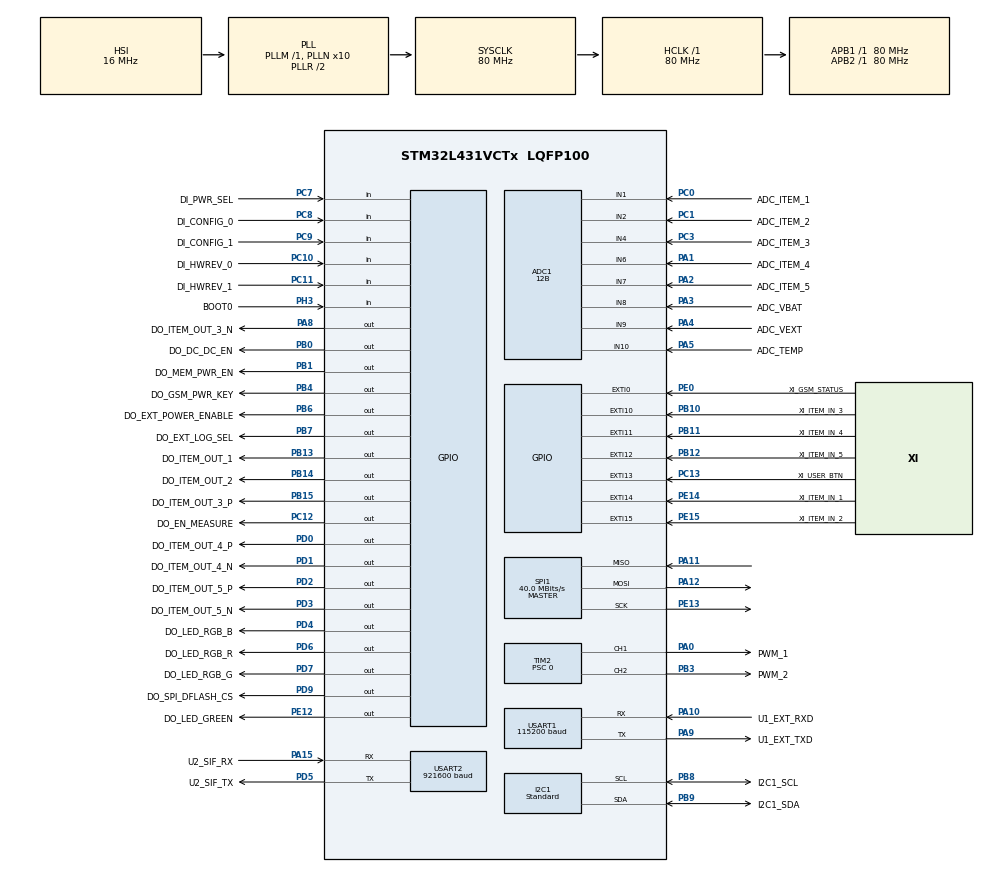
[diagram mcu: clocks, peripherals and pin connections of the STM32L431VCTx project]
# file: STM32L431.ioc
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ADC1.Channel-0\#ChannelRegularConversion=ADC_CHANNEL_1
ADC1.Channel-1\#ChannelRegularConversion=ADC_CHANNEL_2
ADC1.Channel-15\#ChannelRegularConversion=ADC_CHANNEL_9
ADC1.Channel-2\#ChannelRegularConversion=ADC_CHANNEL_4
ADC1.Channel-3\#ChannelRegularConversion=ADC_CHANNEL_6
ADC1.Channel-4\#ChannelRegularConversion=ADC_CHANNEL_7
ADC1.Channel-5\#ChannelRegularConversion=ADC_CHANNEL_8
ADC1.ClockPrescaler=ADC_CLOCK_ASYNC_DIV12
ADC1.ContinuousConvMode=DISABLE
ADC1.DMAContinuousRequests=ENABLE
ADC1.DataAlign=ADC_DATAALIGN_RIGHT
ADC1.DiscontinuousConvMode=DISABLE
ADC1.EOCSelection=ADC_EOC_SINGLE_CONV
ADC1.ExternalTrigConv=ADC_SOFTWARE_START
ADC1.ExternalTrigConvEdge=ADC_EXTERNALTRIGCONVEDGE_NONE
ADC1.LowPowerAutoWait=DISABLE
ADC1.NbrOfConversion=8
ADC1.NbrOfConversionFlag=1
ADC1.OffsetNumber-0\#ChannelRegularConversion=ADC_OFFSET_NONE
ADC1.OffsetNumber-1\#ChannelRegularConversion=ADC_OFFSET_NONE
ADC1.OffsetNumber-15\#ChannelRegularConversion=ADC_OFFSET_NONE
ADC1.OffsetNumber-2\#ChannelRegularConversion=ADC_OFFSET_NONE
ADC1.OffsetNumber-3\#ChannelRegularConversion=ADC_OFFSET_NONE
ADC1.OffsetNumber-4\#ChannelRegularConversion=ADC_OFFSET_NONE
ADC1.OffsetNumber-5\#ChannelRegularConversion=ADC_OFFSET_NONE
ADC1.Overrun=ADC_OVR_DATA_OVERWRITTEN
ADC1.OversamplingMode=DISABLE
ADC1.Rank-0\#ChannelRegularConversion=2
ADC1.Rank-1\#ChannelRegularConversion=3
ADC1.Rank-15\#ChannelRegularConversion=8
ADC1.Rank-2\#ChannelRegularConversion=4
ADC1.Rank-3\#ChannelRegularConversion=5
ADC1.Rank-4\#ChannelRegularConversion=6
ADC1.Rank-5\#ChannelRegularConversion=7
ADC1.Resolution=ADC_RESOLUTION_12B
ADC1.SamplingTime-0\#ChannelRegularConversion=ADC_SAMPLETIME_2CYCLES_5
ADC1.SamplingTime-1\#ChannelRegularConversion=ADC_SAMPLETIME_2CYCLES_5
ADC1.SamplingTime-15\#ChannelRegularConversion=ADC_SAMPLETIME_2CYCLES_5
ADC1.SamplingTime-2\#ChannelRegularConversion=ADC_SAMPLETIME_2CYCLES_5
ADC1.SamplingTime-3\#ChannelRegularConversion=ADC_SAMPLETIME_2CYCLES_5
ADC1.SamplingTime-4\#ChannelRegularConversion=ADC_SAMPLETIME_2CYCLES_5
ADC1.SamplingTime-5\#ChannelRegularConversion=ADC_SAMPLETIME_2CYCLES_5
ADC1.master=1
Dma.ADC1.0.Direction=DMA_PERIPH_TO_MEMORY
Dma.ADC1.0.Instance=DMA1_Channel1
Dma.ADC1.0.MemDataAlignment=DMA_MDATAALIGN_WORD
Dma.ADC1.0.MemInc=DMA_MINC_ENABLE
Dma.ADC1.0.Mode=DMA_CIRCULAR
Dma.ADC1.0.PeriphDataAlignment=DMA_PDATAALIGN_HALFWORD
Dma.ADC1.0.PeriphInc=DMA_PINC_DISABLE
Dma.ADC1.0.Priority=DMA_PRIORITY_LOW
Dma.Request0=ADC1
I2C1.AddressingMode=I2C_ADDRESSINGMODE_7BIT
I2C1.Analog_Filter=I2C_ANALOGFILTER_ENABLE
I2C1.DualAddressMode=I2C_DUALADDRESS_DISABLE
I2C1.GeneralCallMode=I2C_GENERALCALL_DISABLE
I2C1.I2C_Coeff_DF=0
I2C1.I2C_Fall_Time=0
I2C1.I2C_Rise_Time=0
I2C1.I2C_Speed_Mode=I2C_Standard
I2C1.NoStretchMode=I2C_NOSTRETCH_DISABLE
I2C1.OwnAddress=0
I2C1.Speed=100
I2C1.Timing=0x10909CEC
IWDG.Prescaler=IWDG_PRESCALER_16
IWDG.Reload=4095
IWDG.Window=4095
Mcu.Family=STM32L4
Mcu.Name=STM32L431VCTx
Mcu.Package=LQFP100
NVIC.DMA1_Channel1_IRQn=true\:0\:0\:false\:false\:true\:false\:true
NVIC.EXTI0_IRQn=true\:0\:0\:false\:false\:true\:true\:true
NVIC.EXTI15_10_IRQn=true\:0\:0\:false\:false\:true\:true\:true
NVIC.PriorityGroup=NVIC_PRIORITYGROUP_4
NVIC.SPI1_IRQn=true\:0\:0\:false\:false\:true\:true\:true
NVIC.TIM1_UP_TIM16_IRQn=true\:0\:0\:false\:false\:true\:false\:true
NVIC.TimeBase=TIM1_UP_TIM16_IRQn
NVIC.TimeBaseIP=TIM16
NVIC.USART1_IRQn=true\:0\:0\:false\:false\:true\:true\:true
NVIC.USART2_IRQn=true\:0\:0\:false\:false\:true\:true\:true
PA0.GPIO_Label=PWM_1
PA0.Signal=S_TIM2_CH1
PA1.GPIO_Label=ADC_ITEM_4
PA1.Signal=ADCx_IN6
PA10.GPIO_Label=U1_EXT_RXD
PA10.GPIO_PuPd=GPIO_PULLUP
PA10.Mode=Asynchronous
PA10.Signal=USART1_RX
PA11.GPIO_Speed=GPIO_SPEED_FREQ_VERY_HIGH
PA11.Mode=Full_Duplex_Master
PA11.Signal=SPI1_MISO
PA12.GPIO_Speed=GPIO_SPEED_FREQ_VERY_HIGH
PA12.Mode=Full_Duplex_Master
PA12.Signal=SPI1_MOSI
PA13\ (JTMS-SWDIO).Mode=Serial_Wire
PA13\ (JTMS-SWDIO).Signal=SYS_JTMS-SWDIO
PA14\ (JTCK-SWCLK).Mode=Serial_Wire
PA14\ (JTCK-SWCLK).Signal=SYS_JTCK-SWCLK
PA15\ (JTDI).GPIO_Label=U2_SIF_RX
PA15\ (JTDI).GPIO_PuPd=GPIO_PULLUP
PA15\ (JTDI).Mode=Asynchronous
PA15\ (JTDI).Signal=USART2_RX
PA2.GPIO_Label=ADC_ITEM_5
PA2.Signal=ADCx_IN7
PA3.GPIO_Label=ADC_VBAT
PA3.Signal=ADCx_IN8
PA4.GPIO_Label=ADC_VEXT
PA4.Signal=ADCx_IN9
PA5.GPIO_Label=ADC_TEMP
PA5.Signal=ADCx_IN10
PA8.GPIO_Label=DO_ITEM_OUT_3_N
PA8.GPIO_PuPd=GPIO_NOPULL
PA8.Signal=GPIO_Output
PA9.GPIO_Label=U1_EXT_TXD
PA9.Mode=Asynchronous
PA9.Signal=USART1_TX
PB0.GPIO_Label=DO_DC_DC_EN
PB0.PinState=GPIO_PIN_SET
PB0.Signal=GPIO_Output
PB1.GPIO_Label=DO_MEM_PWR_EN
PB1.PinState=GPIO_PIN_RESET
PB1.Signal=GPIO_Output
PB10.GPIO_Label=XI_ITEM_IN_3
PB10.GPIO_PuPd=GPIO_NOPULL
PB10.Signal=GPXTI10
PB11.GPIO_Label=XI_ITEM_IN_4
PB11.GPIO_PuPd=GPIO_NOPULL
PB11.Signal=GPXTI11
PB12.GPIO_Label=XI_ITEM_IN_5
PB12.GPIO_PuPd=GPIO_NOPULL
PB12.Signal=GPXTI12
PB13.GPIO_Label=DO_ITEM_OUT_1
PB13.GPIO_PuPd=GPIO_NOPULL
PB13.Signal=GPIO_Output
PB14.GPIO_Label=DO_ITEM_OUT_2
PB14.GPIO_PuPd=GPIO_NOPULL
PB14.Signal=GPIO_Output
PB15.GPIO_Label=DO_ITEM_OUT_3_P
PB15.GPIO_PuPd=GPIO_NOPULL
PB15.Signal=GPIO_Output
PB3\ (JTDO-TRACESWO).GPIO_Label=PWM_2
PB3\ (JTDO-TRACESWO).Signal=S_TIM2_CH2
PB4\ (NJTRST).GPIO_Label=DO_GSM_PWR_KEY
PB4\ (NJTRST).GPIO_ModeDefaultOutputPP=GPIO_MODE_OUTPUT_PP
PB4\ (NJTRST).GPIO_PuPd=GPIO_PULLDOWN
PB4\ (NJTRST).GPIO_Speed=GPIO_SPEED_FREQ_LOW
PB4\ (NJTRST).PinState=GPIO_PIN_RESET
PB4\ (NJTRST).Signal=GPIO_Output
PB6.GPIO_Label=DO_EXT_POWER_ENABLE
PB6.GPIO_PuPd=GPIO_NOPULL
PB6.PinState=GPIO_PIN_SET
PB6.Signal=GPIO_Output
PB7.GPIO_Label=DO_EXT_LOG_SEL
PB7.PinState=GPIO_PIN_SET
PB7.Signal=GPIO_Output
PB8.GPIO_Label=I2C1_SCL
PB8.GPIO_Pu=GPIO_PULLUP
PB8.Mode=I2C
PB8.Signal=I2C1_SCL
PB9.GPIO_Label=I2C1_SDA
PB9.GPIO_Pu=GPIO_PULLUP
PB9.Mode=I2C
PB9.Signal=I2C1_SDA
PC0.GPIO_Label=ADC_ITEM_1
PC0.Signal=ADCx_IN1
PC1.GPIO_Label=ADC_ITEM_2
PC1.Signal=ADCx_IN2
PC10.GPIO_Label=DI_HWREV_0
PC10.GPIO_PuPd=GPIO_NOPULL
PC10.Signal=GPIO_Input
PC11.GPIO_Label=DI_HWREV_1
PC11.GPIO_PuPd=GPIO_NOPULL
PC11.Signal=GPIO_Input
PC12.GPIO_Label=DO_EN_MEASURE
PC12.PinState=GPIO_PIN_SET
PC12.Signal=GPIO_Output
PC13.GPIO_Label=XI_USER_BTN
PC13.GPIO_ModeDefaultEXTI=GPIO_MODE_IT_FALLING
PC13.GPIO_PuPd=GPIO_PULLUP
PC13.Signal=GPXTI13
PC14-OSC32_IN\ (PC14).Mode=LSE-External-Oscillator
PC14-OSC32_IN\ (PC14).Signal=RCC_OSC32_IN
PC15-OSC32_OUT\ (PC15).Mode=LSE-External-Oscillator
PC15-OSC32_OUT\ (PC15).Signal=RCC_OSC32_OUT
PC3.GPIO_Label=ADC_ITEM_3
PC3.Signal=ADCx_IN4
PC7.GPIO_Label=DI_PWR_SEL
PC7.Signal=GPIO_Input
PC8.GPIO_Label=DI_CONFIG_0
PC8.GPIO_PuPd=GPIO_PULLDOWN
PC8.Signal=GPIO_Input
PC9.GPIO_Label=DI_CONFIG_1
PC9.GPIO_PuPd=GPIO_PULLDOWN
PC9.Signal=GPIO_Input
PD0.GPIO_Label=DO_ITEM_OUT_4_P
PD0.GPIO_PuPd=GPIO_NOPULL
PD0.Signal=GPIO_Output
PD1.GPIO_Label=DO_ITEM_OUT_4_N
PD1.GPIO_PuPd=GPIO_NOPULL
PD1.Signal=GPIO_Output
PD2.GPIO_Label=DO_ITEM_OUT_5_P
PD2.GPIO_PuPd=GPIO_NOPULL
PD2.Signal=GPIO_Output
PD3.GPIO_Label=DO_ITEM_OUT_5_N
PD3.GPIO_PuPd=GPIO_NOPULL
PD3.Signal=GPIO_Output
PD4.GPIO_Label=DO_LED_RGB_B
PD4.GPIO_PuPd=GPIO_NOPULL
PD4.PinState=GPIO_PIN_SET
PD4.Signal=GPIO_Output
PD5.GPIO_Label=U2_SIF_TX
PD5.Mode=Asynchronous
PD5.Signal=USART2_TX
PD6.GPIO_Label=DO_LED_RGB_R
PD6.GPIO_PuPd=GPIO_NOPULL
PD6.PinState=GPIO_PIN_SET
PD6.Signal=GPIO_Output
PD7.GPIO_Label=DO_LED_RGB_G
PD7.PinState=GPIO_PIN_SET
PD7.Signal=GPIO_Output
PD9.GPIO_Label=DO_SPI_DFLASH_CS
PD9.GPIO_PuPd=GPIO_NOPULL
PD9.PinState=GPIO_PIN_SET
PD9.Signal=GPIO_Output
PE0.GPIO_Label=XI_GSM_STATUS
PE0.GPIO_ModeDefaultEXTI=GPIO_MODE_IT_RISING_FALLING
PE0.GPIO_PuPd=GPIO_PULLDOWN
PE0.Signal=GPXTI0
PE12.GPIO_Label=DO_LED_GREEN
PE12.Signal=GPIO_Output
PE13.GPIO_Speed=GPIO_SPEED_FREQ_VERY_HIGH
PE13.Mode=Full_Duplex_Master
PE13.Signal=SPI1_SCK
PE14.GPIO_Label=XI_ITEM_IN_1
PE14.Signal=GPXTI14
PE15.GPIO_Label=XI_ITEM_IN_2
PE15.Signal=GPXTI15
PH3-BOOT0.GPIO_Label=BOOT0
PH3-BOOT0.GPIO_PuPd=GPIO_PULLUP
PH3-BOOT0.Signal=GPIO_Input
ProjectManager.HeapSize=0x0
ProjectManager.StackSize=0x1800
ProjectManager.TargetToolchain=MDK-ARM V5.27
RCC.ADCFreq_Value=64000000
RCC.AHBFreq_Value=80000000
RCC.APB1Freq_Value=80000000
RCC.APB1TimFreq_Value=80000000
RCC.APB2Freq_Value=80000000
RCC.APB2TimFreq_Value=80000000
RCC.CortexFreq_Value=80000000
RCC.FLatency=FLASH_LATENCY_4
RCC.HCLKFreq_Value=80000000
RCC.HSE_VALUE=8000000
RCC.HSI48_VALUE=48000000
RCC.HSI_VALUE=16000000
RCC.LSE_Drive_Capability=RCC_LSEDRIVE_LOW
RCC.MSI_VALUE=4000000
RCC.PLLN=10
RCC.PLLSourceVirtual=RCC_PLLSOURCE_HSI
RCC.PREFETCH_ENABLE=1
RCC.RTCClockSelection=RCC_RTCCLKSOURCE_LSE
RCC.SYSCLKFreq_VALUE=80000000
RCC.SYSCLKSource=RCC_SYSCLKSOURCE_PLLCLK
RCC.VCOOutputFreq_Value=160000000
RTC.AsynchPrediv=127
RTC.HourFormat=RTC_HOURFORMAT_24
RTC.SynchPrediv=255
SH.ADCx_IN1.0=ADC1_IN1,IN1-Single-Ended
SH.ADCx_IN10.0=ADC1_IN10,IN10-Single-Ended
SH.ADCx_IN2.0=ADC1_IN2,IN2-Single-Ended
SH.ADCx_IN4.0=ADC1_IN4,IN4-Single-Ended
SH.ADCx_IN6.0=ADC1_IN6,IN6-Single-Ended
SH.ADCx_IN7.0=ADC1_IN7,IN7-Single-Ended
SH.ADCx_IN8.0=ADC1_IN8,IN8-Single-Ended
SH.ADCx_IN9.0=ADC1_IN9,IN9-Single-Ended
SH.S_TIM2_CH1.0=TIM2_CH1,PWM Generation1 CH1
SH.S_TIM2_CH2.0=TIM2_CH2,PWM Generation2 CH2
SPI1.BaudRatePrescaler=SPI_BAUDRATEPRESCALER_2
SPI1.CLKPhase=SPI_PHASE_1EDGE
SPI1.CLKPolarity=SPI_POLARITY_LOW
SPI1.CRCCalculation=SPI_CRCCALCULATION_DISABLE
SPI1.CalculateBaudRate=40.0 MBits/s
SPI1.DataSize=SPI_DATASIZE_8BIT
SPI1.Direction=SPI_DIRECTION_2LINES
SPI1.FirstBit=SPI_FIRSTBIT_MSB
SPI1.Mode=SPI_MODE_MASTER
SPI1.NSS=SPI_NSS_SOFT
SPI1.TIMode=SPI_TIMODE_DISABLE
SPI1.VirtualType=VM_MASTER
TIM2.AutoReloadPreload=TIM_AUTORELOAD_PRELOAD_ENABLE
TIM2.Channel-PWM\ Generation1\ CH1=TIM_CHANNEL_1
TIM2.Channel-PWM\ Generation2\ CH2=TIM_CHANNEL_2
TIM2.ClockDivision=TIM_CLOCKDIVISION_DIV1
TIM2.CounterMode=TIM_COUNTERMODE_UP
TIM2.OCPolarity_1=TIM_OCPOLARITY_HIGH
TIM2.OCPolarity_2=TIM_OCPOLARITY_HIGH
TIM2.Period=6400
TIM2.Prescaler=0
TIM2.TIM_MasterOutputTrigger=TIM_TRGO_RESET
TIM2.TIM_MasterSlaveMode=TIM_MASTERSLAVEMODE_DISABLE
USART1.AutoBaudRateEnableParam=UART_ADVFEATURE_AUTOBAUDRATE_DISABLE
USART1.BaudRate=115200
USART1.DMADisableonRxErrorParam=ADVFEATURE_DMA_DISABLEONRXERROR
USART1.DataInvertParam=ADVFEATURE_DATAINV_DISABLE
USART1.MSBFirstParam=ADVFEATURE_MSBFIRST_DISABLE
USART1.Mode=MODE_TX_RX
USART1.OneBitSampling=UART_ONE_BIT_SAMPLE_DISABLE
USART1.OverSampling=UART_OVERSAMPLING_16
USART1.OverrunDisableParam=ADVFEATURE_OVERRUN_DISABLE
USART1.Parity=PARITY_NONE
USART1.RxPinLevelInvertParam=ADVFEATURE_RXINV_DISABLE
USART1.StopBits=STOPBITS_1
USART1.SwapParam=ADVFEATURE_SWAP_DISABLE
USART1.TxPinLevelInvertParam=ADVFEATURE_TXINV_DISABLE
USART1.VirtualMode-Asynchronous=VM_ASYNC
USART1.WordLength=WORDLENGTH_8B
USART2.AutoBaudRateEnableParam=UART_ADVFEATURE_AUTOBAUDRATE_DISABLE
USART2.BaudRate=921600
USART2.DMADisableonRxErrorParam=ADVFEATURE_DMA_DISABLEONRXERROR
USART2.DataInvertParam=ADVFEATURE_DATAINV_DISABLE
USART2.MSBFirstParam=ADVFEATURE_MSBFIRST_DISABLE
USART2.Mode=MODE_TX_RX
USART2.OneBitSampling=UART_ONE_BIT_SAMPLE_DISABLE
USART2.OverSampling=UART_OVERSAMPLING_16
USART2.OverrunDisableParam=ADVFEATURE_OVERRUN_DISABLE
USART2.Parity=PARITY_NONE
USART2.RxPinLevelInvertParam=ADVFEATURE_RXINV_DISABLE
USART2.StopBits=STOPBITS_1
USART2.SwapParam=ADVFEATURE_SWAP_DISABLE
USART2.TxPinLevelInvertParam=ADVFEATURE_TXINV_DISABLE
USART2.VirtualMode-Asynchronous=VM_ASYNC
USART2.WordLength=WORDLENGTH_8B
VP_IWDG_VS_IWDG.Mode=IWDG_Activate
VP_RTC_VS_RTC_Activate.Mode=RTC_Enabled
VP_SYS_VS_tim16.Mode=TIM16
VP_TIM2_VS_ClockSourceINT.Mode=Internal
board=NUCLEO-G070RB

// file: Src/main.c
/* USER CODE BEGIN Header */
/**
  ******************************************************************************
  * @file           : main.c
  * @brief          : Main program body
  ******************************************************************************
  * @attention
  *
  * <h2><center>&copy; Copyright (c) 2021 STMicroelectronics.
  * All rights reserved.</center></h2>
  *
  * This software component is licensed by ST under BSD 3-Clause license,
  * the "License"; You may not use this file except in compliance with the
  * License. You may obtain a copy of the License at:
  *                        opensource.org/licenses/BSD-3-Clause
  *
  ******************************************************************************
  */
/* USER CODE END Header */
#include "main.h"

/* USER CODE BEGIN Includes */
#include <hal/hal.h>
#include <hal/wdt/wdt.h>
#include <plf/plf.h>
#include <plf/blc/blc.h>
#include <sif/sif.h>
#include <cif/cif.h>
#include <app/app.h>
/* USER CODE END Includes */

ADC_HandleTypeDef hadc1;
DMA_HandleTypeDef hdma_adc1;

I2C_HandleTypeDef hi2c1;

IWDG_HandleTypeDef hiwdg;

RTC_HandleTypeDef hrtc;

SPI_HandleTypeDef hspi1;

UART_HandleTypeDef huart1;
UART_HandleTypeDef huart2;

void SystemClock_Config(void);
static void MX_GPIO_Init(void);
static void MX_DMA_Init(void);
static void MX_USART2_UART_Init(void);
static void MX_RTC_Init(void);
static void MX_I2C1_Init(void);
static void MX_USART1_UART_Init(void);
static void MX_SPI1_Init(void);
static void MX_TIM2_Init(void);
static void MX_ADC1_Init(void);

int main(void)
{
  /* USER CODE BEGIN 1 */
  // One of the boards malfunction so the MCU 3.3V should be started as soon as
  // possible. This work-around requires do be done before clock and other
  // initialization.
  LL_AHB2_GRP1_EnableClock(LL_AHB2_GRP1_PERIPH_GPIOB);
  LL_GPIO_SetOutputPin(DO_DC_DC_EN_GPIO_Port, DO_DC_DC_EN_Pin);
  LL_GPIO_InitTypeDef GPIO_InitStruct = {0};
  GPIO_InitStruct.Pin = DO_DC_DC_EN_Pin;
  GPIO_InitStruct.Mode = LL_GPIO_MODE_OUTPUT;
  GPIO_InitStruct.Speed = LL_GPIO_SPEED_FREQ_LOW;
  GPIO_InitStruct.OutputType = LL_GPIO_OUTPUT_PUSHPULL;
  GPIO_InitStruct.Pull = LL_GPIO_PULL_NO;
  LL_GPIO_Init(GPIOB, &GPIO_InitStruct);

  SCB->VTOR = APP_PROGRAM_FLASH_START;
  HalWdtFeed();
  /* USER CODE END 1 */

  /* MCU Configuration--------------------------------------------------------*/

  /* Reset of all peripherals, Initializes the Flash interface and the Systick. */
  HAL_Init();

  /* USER CODE BEGIN Init */

  // STM32CubeMX V6 HAL drivers for STM32L4 has rewritten the definition for HSI
  // default calibration and it is now wrong. An offset of 15% on the system
  // clock has been observed.
  // As a work-around the HSI default calibration is undefined and defined again
  // with an working implementation copied from STM32CubeMX V5 HAL drivers.

#undef RCC_HSICALIBRATION_DEFAULT

#if defined(STM32L431xx) || defined(STM32L432xx) || defined(STM32L433xx) || \
    defined(STM32L442xx) || defined(STM32L443xx) || defined(STM32L471xx) || \
    defined(STM32L475xx) || defined(STM32L476xx) || defined(STM32L485xx) || \
    defined(STM32L486xx)
#define RCC_HSICALIBRATION_DEFAULT     0x10U
#else
#define RCC_HSICALIBRATION_DEFAULT     0x40U
#endif

  /* USER CODE END Init */

  /* Configure the system clock */
  SystemClock_Config();

  /* Initialize all configured peripherals */
  MX_GPIO_Init();
  MX_DMA_Init();
  MX_USART2_UART_Init();
  MX_RTC_Init();
  MX_I2C1_Init();
  MX_USART1_UART_Init();
  MX_SPI1_Init();
  MX_TIM2_Init();
  MX_ADC1_Init();
  /* USER CODE BEGIN 2 */
  HalWdtFeed();
  HalInterruptEnable(NULL);
  EvosInit();

	SIF_Init(true);
  HalInit();
	PlfInit();
	SIF_Init(false);

  // Application init handles SUP_Init and SHC_Init
  APP_Init();
  CIF_Init();  // Last called befor Evos Start
  /* USER CODE END 2 */

  /* Infinite loop */
  /* USER CODE BEGIN WHILE */
  EvosSchedulerStart(NULL);
    /* USER CODE END WHILE */

}

void SystemClock_Config(void)
{
  RCC_OscInitTypeDef RCC_OscInitStruct = {0};
  RCC_ClkInitTypeDef RCC_ClkInitStruct = {0};

  /** Configure the main internal regulator output voltage
  */
  if (HAL_PWREx_ControlVoltageScaling(PWR_REGULATOR_VOLTAGE_SCALE1) != HAL_OK)
  {
    Error_Handler();
  }
  /** Configure LSE Drive Capability
  */
  HAL_PWR_EnableBkUpAccess();
  __HAL_RCC_LSEDRIVE_CONFIG(RCC_LSEDRIVE_LOW);
  /** Initializes the RCC Oscillators according to the specified parameters
  * in the RCC_OscInitTypeDef structure.
  */
  RCC_OscInitStruct.OscillatorType = RCC_OSCILLATORTYPE_HSI|RCC_OSCILLATORTYPE_LSI
                              |RCC_OSCILLATORTYPE_LSE;
  RCC_OscInitStruct.LSEState = RCC_LSE_ON;
  RCC_OscInitStruct.HSIState = RCC_HSI_ON;
  RCC_OscInitStruct.HSICalibrationValue = RCC_HSICALIBRATION_DEFAULT;
  RCC_OscInitStruct.LSIState = RCC_LSI_ON;
  RCC_OscInitStruct.PLL.PLLState = RCC_PLL_ON;
  RCC_OscInitStruct.PLL.PLLSource = RCC_PLLSOURCE_HSI;
  RCC_OscInitStruct.PLL.PLLM = 1;
  RCC_OscInitStruct.PLL.PLLN = 10;
  RCC_OscInitStruct.PLL.PLLP = RCC_PLLP_DIV7;
  RCC_OscInitStruct.PLL.PLLQ = RCC_PLLQ_DIV2;
  RCC_OscInitStruct.PLL.PLLR = RCC_PLLR_DIV2;
  if (HAL_RCC_OscConfig(&RCC_OscInitStruct) != HAL_OK)
  {
    Error_Handler();
  }
  /** Initializes the CPU, AHB and APB buses clocks
  */
  RCC_ClkInitStruct.ClockType = RCC_CLOCKTYPE_HCLK|RCC_CLOCKTYPE_SYSCLK
                              |RCC_CLOCKTYPE_PCLK1|RCC_CLOCKTYPE_PCLK2;
  RCC_ClkInitStruct.SYSCLKSource = RCC_SYSCLKSOURCE_PLLCLK;
  RCC_ClkInitStruct.AHBCLKDivider = RCC_SYSCLK_DIV1;
  RCC_ClkInitStruct.APB1CLKDivider = RCC_HCLK_DIV1;
  RCC_ClkInitStruct.APB2CLKDivider = RCC_HCLK_DIV1;

  if (HAL_RCC_ClockConfig(&RCC_ClkInitStruct, FLASH_LATENCY_4) != HAL_OK)
  {
    Error_Handler();
  }
}

static void MX_ADC1_Init(void)
{

  ADC_ChannelConfTypeDef sConfig = {0};

  /** Common config
  */
  hadc1.Instance = ADC1;
  hadc1.Init.ClockPrescaler = ADC_CLOCK_ASYNC_DIV12;
  hadc1.Init.Resolution = ADC_RESOLUTION_12B;
  hadc1.Init.DataAlign = ADC_DATAALIGN_RIGHT;
  hadc1.Init.ScanConvMode = ADC_SCAN_ENABLE;
  hadc1.Init.EOCSelection = ADC_EOC_SINGLE_CONV;
  hadc1.Init.LowPowerAutoWait = DISABLE;
  hadc1.Init.ContinuousConvMode = DISABLE;
  hadc1.Init.NbrOfConversion = 8;
  hadc1.Init.DiscontinuousConvMode = DISABLE;
  hadc1.Init.ExternalTrigConv = ADC_SOFTWARE_START;
  hadc1.Init.ExternalTrigConvEdge = ADC_EXTERNALTRIGCONVEDGE_NONE;
  hadc1.Init.DMAContinuousRequests = ENABLE;
  hadc1.Init.Overrun = ADC_OVR_DATA_OVERWRITTEN;
  hadc1.Init.OversamplingMode = DISABLE;
  if (HAL_ADC_Init(&hadc1) != HAL_OK)
  {
    Error_Handler();
  }
  /** Configure Regular Channel
  */
  sConfig.Channel = ADC_CHANNEL_1;
  sConfig.Rank = ADC_REGULAR_RANK_2;
  sConfig.SamplingTime = ADC_SAMPLETIME_2CYCLES_5;
  sConfig.SingleDiff = ADC_SINGLE_ENDED;
  sConfig.OffsetNumber = ADC_OFFSET_NONE;
  sConfig.Offset = 0;
  if (HAL_ADC_ConfigChannel(&hadc1, &sConfig) != HAL_OK)
  {
    Error_Handler();
  }
  /** Configure Regular Channel
  */
  sConfig.Channel = ADC_CHANNEL_2;
  sConfig.Rank = ADC_REGULAR_RANK_3;
  if (HAL_ADC_ConfigChannel(&hadc1, &sConfig) != HAL_OK)
  {
    Error_Handler();
  }
  /** Configure Regular Channel
  */
  sConfig.Channel = ADC_CHANNEL_4;
  sConfig.Rank = ADC_REGULAR_RANK_4;
  if (HAL_ADC_ConfigChannel(&hadc1, &sConfig) != HAL_OK)
  {
    Error_Handler();
  }
  /** Configure Regular Channel
  */
  sConfig.Channel = ADC_CHANNEL_6;
  sConfig.Rank = ADC_REGULAR_RANK_5;
  if (HAL_ADC_ConfigChannel(&hadc1, &sConfig) != HAL_OK)
  {
    Error_Handler();
  }
  /** Configure Regular Channel
  */
  sConfig.Channel = ADC_CHANNEL_7;
  sConfig.Rank = ADC_REGULAR_RANK_6;
  if (HAL_ADC_ConfigChannel(&hadc1, &sConfig) != HAL_OK)
  {
    Error_Handler();
  }
  /** Configure Regular Channel
  */
  sConfig.Channel = ADC_CHANNEL_8;
  sConfig.Rank = ADC_REGULAR_RANK_7;
  if (HAL_ADC_ConfigChannel(&hadc1, &sConfig) != HAL_OK)
  {
    Error_Handler();
  }
  /** Configure Regular Channel
  */
  sConfig.Channel = ADC_CHANNEL_9;
  sConfig.Rank = ADC_REGULAR_RANK_8;
  if (HAL_ADC_ConfigChannel(&hadc1, &sConfig) != HAL_OK)
  {
    Error_Handler();
  }

}

static void MX_I2C1_Init(void)
{

  hi2c1.Instance = I2C1;
  hi2c1.Init.Timing = 0x10909CEC;
  hi2c1.Init.OwnAddress1 = 0;
  hi2c1.Init.AddressingMode = I2C_ADDRESSINGMODE_7BIT;
  hi2c1.Init.DualAddressMode = I2C_DUALADDRESS_DISABLE;
  hi2c1.Init.OwnAddress2 = 0;
  hi2c1.Init.OwnAddress2Masks = I2C_OA2_NOMASK;
  hi2c1.Init.GeneralCallMode = I2C_GENERALCALL_DISABLE;
  hi2c1.Init.NoStretchMode = I2C_NOSTRETCH_DISABLE;
  if (HAL_I2C_Init(&hi2c1) != HAL_OK)
  {
    Error_Handler();
  }
  /** Configure Analogue filter
  */
  if (HAL_I2CEx_ConfigAnalogFilter(&hi2c1, I2C_ANALOGFILTER_ENABLE) != HAL_OK)
  {
    Error_Handler();
  }
  /** Configure Digital filter
  */
  if (HAL_I2CEx_ConfigDigitalFilter(&hi2c1, 0) != HAL_OK)
  {
    Error_Handler();
  }

}

void MX_IWDG_Init(void)
{

  hiwdg.Instance = IWDG;
  hiwdg.Init.Prescaler = IWDG_PRESCALER_16;
  hiwdg.Init.Window = 4095;
  hiwdg.Init.Reload = 4095;
  if (HAL_IWDG_Init(&hiwdg) != HAL_OK)
  {
    Error_Handler();
  }

}

static void MX_RTC_Init(void)
{

  /** Initialize RTC Only
  */
  hrtc.Instance = RTC;
  hrtc.Init.HourFormat = RTC_HOURFORMAT_24;
  hrtc.Init.AsynchPrediv = 127;
  hrtc.Init.SynchPrediv = 255;
  hrtc.Init.OutPut = RTC_OUTPUT_DISABLE;
  hrtc.Init.OutPutRemap = RTC_OUTPUT_REMAP_NONE;
  hrtc.Init.OutPutPolarity = RTC_OUTPUT_POLARITY_HIGH;
  hrtc.Init.OutPutType = RTC_OUTPUT_TYPE_OPENDRAIN;
  if (HAL_RTC_Init(&hrtc) != HAL_OK)
  {
    Error_Handler();
  }

}

static void MX_SPI1_Init(void)
{

  /* SPI1 parameter configuration*/
  hspi1.Instance = SPI1;
  hspi1.Init.Mode = SPI_MODE_MASTER;
  hspi1.Init.Direction = SPI_DIRECTION_2LINES;
  hspi1.Init.DataSize = SPI_DATASIZE_8BIT;
  hspi1.Init.CLKPolarity = SPI_POLARITY_LOW;
  hspi1.Init.CLKPhase = SPI_PHASE_1EDGE;
  hspi1.Init.NSS = SPI_NSS_SOFT;
  hspi1.Init.BaudRatePrescaler = SPI_BAUDRATEPRESCALER_2;
  hspi1.Init.FirstBit = SPI_FIRSTBIT_MSB;
  hspi1.Init.TIMode = SPI_TIMODE_DISABLE;
  hspi1.Init.CRCCalculation = SPI_CRCCALCULATION_DISABLE;
  hspi1.Init.CRCPolynomial = 7;
  hspi1.Init.CRCLength = SPI_CRC_LENGTH_DATASIZE;
  hspi1.Init.NSSPMode = SPI_NSS_PULSE_ENABLE;
  if (HAL_SPI_Init(&hspi1) != HAL_OK)
  {
    Error_Handler();
  }

}

static void MX_TIM2_Init(void)
{

  LL_TIM_InitTypeDef TIM_InitStruct = {0};
  LL_TIM_OC_InitTypeDef TIM_OC_InitStruct = {0};

  LL_GPIO_InitTypeDef GPIO_InitStruct = {0};

  /* Peripheral clock enable */
  LL_APB1_GRP1_EnableClock(LL_APB1_GRP1_PERIPH_TIM2);

  TIM_InitStruct.Prescaler = 0;
  TIM_InitStruct.CounterMode = LL_TIM_COUNTERMODE_UP;
  TIM_InitStruct.Autoreload = 6400;
  TIM_InitStruct.ClockDivision = LL_TIM_CLOCKDIVISION_DIV1;
  LL_TIM_Init(TIM2, &TIM_InitStruct);
  LL_TIM_EnableARRPreload(TIM2);
  LL_TIM_SetClockSource(TIM2, LL_TIM_CLOCKSOURCE_INTERNAL);
  LL_TIM_OC_EnablePreload(TIM2, LL_TIM_CHANNEL_CH1);
  TIM_OC_InitStruct.OCMode = LL_TIM_OCMODE_PWM1;
  TIM_OC_InitStruct.OCState = LL_TIM_OCSTATE_DISABLE;
  TIM_OC_InitStruct.OCNState = LL_TIM_OCSTATE_DISABLE;
  TIM_OC_InitStruct.CompareValue = 0;
  TIM_OC_InitStruct.OCPolarity = LL_TIM_OCPOLARITY_HIGH;
  LL_TIM_OC_Init(TIM2, LL_TIM_CHANNEL_CH1, &TIM_OC_InitStruct);
  LL_TIM_OC_DisableFast(TIM2, LL_TIM_CHANNEL_CH1);
  LL_TIM_OC_EnablePreload(TIM2, LL_TIM_CHANNEL_CH2);
  LL_TIM_OC_Init(TIM2, LL_TIM_CHANNEL_CH2, &TIM_OC_InitStruct);
  LL_TIM_OC_DisableFast(TIM2, LL_TIM_CHANNEL_CH2);
  LL_TIM_SetOCRefClearInputSource(TIM2, LL_TIM_OCREF_CLR_INT_NC);
  LL_TIM_DisableExternalClock(TIM2);
  LL_TIM_ConfigETR(TIM2, LL_TIM_ETR_POLARITY_NONINVERTED, LL_TIM_ETR_PRESCALER_DIV1, LL_TIM_ETR_FILTER_FDIV1);
  LL_TIM_SetTriggerOutput(TIM2, LL_TIM_TRGO_RESET);
  LL_TIM_DisableMasterSlaveMode(TIM2);
  LL_AHB2_GRP1_EnableClock(LL_AHB2_GRP1_PERIPH_GPIOA);
  LL_AHB2_GRP1_EnableClock(LL_AHB2_GRP1_PERIPH_GPIOB);
  /**TIM2 GPIO Configuration
  PA0   ------> TIM2_CH1
  PB3 (JTDO-TRACESWO)   ------> TIM2_CH2
  */
  GPIO_InitStruct.Pin = PWM_1_Pin;
  GPIO_InitStruct.Mode = LL_GPIO_MODE_ALTERNATE;
  GPIO_InitStruct.Speed = LL_GPIO_SPEED_FREQ_LOW;
  GPIO_InitStruct.OutputType = LL_GPIO_OUTPUT_PUSHPULL;
  GPIO_InitStruct.Pull = LL_GPIO_PULL_NO;
  GPIO_InitStruct.Alternate = LL_GPIO_AF_1;
  LL_GPIO_Init(PWM_1_GPIO_Port, &GPIO_InitStruct);

  GPIO_InitStruct.Pin = PWM_2_Pin;
  GPIO_InitStruct.Mode = LL_GPIO_MODE_ALTERNATE;
  GPIO_InitStruct.Speed = LL_GPIO_SPEED_FREQ_LOW;
  GPIO_InitStruct.OutputType = LL_GPIO_OUTPUT_PUSHPULL;
  GPIO_InitStruct.Pull = LL_GPIO_PULL_NO;
  GPIO_InitStruct.Alternate = LL_GPIO_AF_1;
  LL_GPIO_Init(PWM_2_GPIO_Port, &GPIO_InitStruct);

}

static void MX_USART1_UART_Init(void)
{

  huart1.Instance = USART1;
  huart1.Init.BaudRate = 115200;
  huart1.Init.WordLength = UART_WORDLENGTH_8B;
  huart1.Init.StopBits = UART_STOPBITS_1;
  huart1.Init.Parity = UART_PARITY_NONE;
  huart1.Init.Mode = UART_MODE_TX_RX;
  huart1.Init.HwFlowCtl = UART_HWCONTROL_NONE;
  huart1.Init.OverSampling = UART_OVERSAMPLING_16;
  huart1.Init.OneBitSampling = UART_ONE_BIT_SAMPLE_DISABLE;
  huart1.AdvancedInit.AdvFeatureInit = UART_ADVFEATURE_RXOVERRUNDISABLE_INIT|UART_ADVFEATURE_DMADISABLEONERROR_INIT;
  huart1.AdvancedInit.OverrunDisable = UART_ADVFEATURE_OVERRUN_DISABLE;
  huart1.AdvancedInit.DMADisableonRxError = UART_ADVFEATURE_DMA_DISABLEONRXERROR;
  if (HAL_UART_Init(&huart1) != HAL_OK)
  {
    Error_Handler();
  }

}

static void MX_USART2_UART_Init(void)
{

  huart2.Instance = USART2;
  huart2.Init.BaudRate = 921600;
  huart2.Init.WordLength = UART_WORDLENGTH_8B;
  huart2.Init.StopBits = UART_STOPBITS_1;
  huart2.Init.Parity = UART_PARITY_NONE;
  huart2.Init.Mode = UART_MODE_TX_RX;
  huart2.Init.HwFlowCtl = UART_HWCONTROL_NONE;
  huart2.Init.OverSampling = UART_OVERSAMPLING_16;
  huart2.Init.OneBitSampling = UART_ONE_BIT_SAMPLE_DISABLE;
  huart2.AdvancedInit.AdvFeatureInit = UART_ADVFEATURE_RXOVERRUNDISABLE_INIT|UART_ADVFEATURE_DMADISABLEONERROR_INIT;
  huart2.AdvancedInit.OverrunDisable = UART_ADVFEATURE_OVERRUN_DISABLE;
  huart2.AdvancedInit.DMADisableonRxError = UART_ADVFEATURE_DMA_DISABLEONRXERROR;
  if (HAL_UART_Init(&huart2) != HAL_OK)
  {
    Error_Handler();
  }

}

static void MX_DMA_Init(void)
{

  /* DMA controller clock enable */
  __HAL_RCC_DMA1_CLK_ENABLE();

  /* DMA interrupt init */
  /* DMA1_Channel1_IRQn interrupt configuration */
  HAL_NVIC_SetPriority(DMA1_Channel1_IRQn, 0, 0);
  HAL_NVIC_EnableIRQ(DMA1_Channel1_IRQn);

}

static void MX_GPIO_Init(void)
{
  LL_EXTI_InitTypeDef EXTI_InitStruct = {0};
  LL_GPIO_InitTypeDef GPIO_InitStruct = {0};

  /* GPIO Ports Clock Enable */
  LL_AHB2_GRP1_EnableClock(LL_AHB2_GRP1_PERIPH_GPIOE);
  LL_AHB2_GRP1_EnableClock(LL_AHB2_GRP1_PERIPH_GPIOC);
  LL_AHB2_GRP1_EnableClock(LL_AHB2_GRP1_PERIPH_GPIOH);
  LL_AHB2_GRP1_EnableClock(LL_AHB2_GRP1_PERIPH_GPIOA);
  LL_AHB2_GRP1_EnableClock(LL_AHB2_GRP1_PERIPH_GPIOB);
  LL_AHB2_GRP1_EnableClock(LL_AHB2_GRP1_PERIPH_GPIOD);

  /**/
  LL_GPIO_SetOutputPin(GPIOB, DO_DC_DC_EN_Pin|DO_EXT_POWER_ENABLE_Pin|DO_EXT_LOG_SEL_Pin);

  /**/
  LL_GPIO_SetOutputPin(GPIOD, DO_SPI_DFLASH_CS_Pin|DO_LED_RGB_B_Pin|DO_LED_RGB_R_Pin|DO_LED_RGB_G_Pin);

  /**/
  LL_GPIO_SetOutputPin(DO_EN_MEASURE_GPIO_Port, DO_EN_MEASURE_Pin);

  /**/
  LL_GPIO_ResetOutputPin(GPIOB, DO_MEM_PWR_EN_Pin|DO_ITEM_OUT_1_Pin|DO_ITEM_OUT_2_Pin|DO_ITEM_OUT_3_P_Pin
                          |DO_GSM_PWR_KEY_Pin);

  /**/
  LL_GPIO_ResetOutputPin(DO_LED_GREEN_GPIO_Port, DO_LED_GREEN_Pin);

  /**/
  LL_GPIO_ResetOutputPin(DO_ITEM_OUT_3_N_GPIO_Port, DO_ITEM_OUT_3_N_Pin);

  /**/
  LL_GPIO_ResetOutputPin(GPIOD, DO_ITEM_OUT_4_P_Pin|DO_ITEM_OUT_4_N_Pin|DO_ITEM_OUT_5_P_Pin|DO_ITEM_OUT_5_N_Pin);

  /**/
  GPIO_InitStruct.Pin = LL_GPIO_PIN_2|LL_GPIO_PIN_3|LL_GPIO_PIN_4|LL_GPIO_PIN_5
                          |LL_GPIO_PIN_6|LL_GPIO_PIN_7|LL_GPIO_PIN_8|LL_GPIO_PIN_9
                          |LL_GPIO_PIN_10|LL_GPIO_PIN_11|LL_GPIO_PIN_1;
  GPIO_InitStruct.Mode = LL_GPIO_MODE_ANALOG;
  GPIO_InitStruct.Pull = LL_GPIO_PULL_NO;
  LL_GPIO_Init(GPIOE, &GPIO_InitStruct);

  /**/
  GPIO_InitStruct.Pin = LL_GPIO_PIN_0|LL_GPIO_PIN_1;
  GPIO_InitStruct.Mode = LL_GPIO_MODE_ANALOG;
  GPIO_InitStruct.Pull = LL_GPIO_PULL_NO;
  LL_GPIO_Init(GPIOH, &GPIO_InitStruct);

  /**/
  GPIO_InitStruct.Pin = LL_GPIO_PIN_2|LL_GPIO_PIN_4|LL_GPIO_PIN_5|LL_GPIO_PIN_6;
  GPIO_InitStruct.Mode = LL_GPIO_MODE_ANALOG;
  GPIO_InitStruct.Pull = LL_GPIO_PULL_NO;
  LL_GPIO_Init(GPIOC, &GPIO_InitStruct);

  /**/
  GPIO_InitStruct.Pin = LL_GPIO_PIN_6|LL_GPIO_PIN_7;
  GPIO_InitStruct.Mode = LL_GPIO_MODE_ANALOG;
  GPIO_InitStruct.Pull = LL_GPIO_PULL_NO;
  LL_GPIO_Init(GPIOA, &GPIO_InitStruct);

  /**/
  GPIO_InitStruct.Pin = DO_DC_DC_EN_Pin|DO_MEM_PWR_EN_Pin|DO_ITEM_OUT_1_Pin|DO_ITEM_OUT_2_Pin
                          |DO_ITEM_OUT_3_P_Pin|DO_EXT_POWER_ENABLE_Pin|DO_EXT_LOG_SEL_Pin;
  GPIO_InitStruct.Mode = LL_GPIO_MODE_OUTPUT;
  GPIO_InitStruct.Speed = LL_GPIO_SPEED_FREQ_LOW;
  GPIO_InitStruct.OutputType = LL_GPIO_OUTPUT_PUSHPULL;
  GPIO_InitStruct.Pull = LL_GPIO_PULL_NO;
  LL_GPIO_Init(GPIOB, &GPIO_InitStruct);

  /**/
  GPIO_InitStruct.Pin = LL_GPIO_PIN_2|LL_GPIO_PIN_5;
  GPIO_InitStruct.Mode = LL_GPIO_MODE_ANALOG;
  GPIO_InitStruct.Pull = LL_GPIO_PULL_NO;
  LL_GPIO_Init(GPIOB, &GPIO_InitStruct);

  /**/
  GPIO_InitStruct.Pin = DO_LED_GREEN_Pin;
  GPIO_InitStruct.Mode = LL_GPIO_MODE_OUTPUT;
  GPIO_InitStruct.Speed = LL_GPIO_SPEED_FREQ_LOW;
  GPIO_InitStruct.OutputType = LL_GPIO_OUTPUT_PUSHPULL;
  GPIO_InitStruct.Pull = LL_GPIO_PULL_NO;
  LL_GPIO_Init(DO_LED_GREEN_GPIO_Port, &GPIO_InitStruct);

  /**/
  GPIO_InitStruct.Pin = LL_GPIO_PIN_8|LL_GPIO_PIN_10|LL_GPIO_PIN_11|LL_GPIO_PIN_12
                          |LL_GPIO_PIN_13|LL_GPIO_PIN_14|LL_GPIO_PIN_15;
  GPIO_InitStruct.Mode = LL_GPIO_MODE_ANALOG;
  GPIO_InitStruct.Pull = LL_GPIO_PULL_NO;
  LL_GPIO_Init(GPIOD, &GPIO_InitStruct);

  /**/
  GPIO_InitStruct.Pin = DO_SPI_DFLASH_CS_Pin|DO_ITEM_OUT_4_P_Pin|DO_ITEM_OUT_4_N_Pin|DO_ITEM_OUT_5_P_Pin
                          |DO_ITEM_OUT_5_N_Pin|DO_LED_RGB_B_Pin|DO_LED_RGB_R_Pin|DO_LED_RGB_G_Pin;
  GPIO_InitStruct.Mode = LL_GPIO_MODE_OUTPUT;
  GPIO_InitStruct.Speed = LL_GPIO_SPEED_FREQ_LOW;
  GPIO_InitStruct.OutputType = LL_GPIO_OUTPUT_PUSHPULL;
  GPIO_InitStruct.Pull = LL_GPIO_PULL_NO;
  LL_GPIO_Init(GPIOD, &GPIO_InitStruct);

  /**/
  GPIO_InitStruct.Pin = DI_PWR_SEL_Pin|DI_HWREV_0_Pin|DI_HWREV_1_Pin;
  GPIO_InitStruct.Mode = LL_GPIO_MODE_INPUT;
  GPIO_InitStruct.Pull = LL_GPIO_PULL_NO;
  LL_GPIO_Init(GPIOC, &GPIO_InitStruct);

  /**/
  GPIO_InitStruct.Pin = DI_CONFIG_0_Pin|DI_CONFIG_1_Pin;
  GPIO_InitStruct.Mode = LL_GPIO_MODE_INPUT;
  GPIO_InitStruct.Pull = LL_GPIO_PULL_DOWN;
  LL_GPIO_Init(GPIOC, &GPIO_InitStruct);

  /**/
  GPIO_InitStruct.Pin = DO_ITEM_OUT_3_N_Pin;
  GPIO_InitStruct.Mode = LL_GPIO_MODE_OUTPUT;
  GPIO_InitStruct.Speed = LL_GPIO_SPEED_FREQ_LOW;
  GPIO_InitStruct.OutputType = LL_GPIO_OUTPUT_PUSHPULL;
  GPIO_InitStruct.Pull = LL_GPIO_PULL_NO;
  LL_GPIO_Init(DO_ITEM_OUT_3_N_GPIO_Port, &GPIO_InitStruct);

  /**/
  GPIO_InitStruct.Pin = DO_EN_MEASURE_Pin;
  GPIO_InitStruct.Mode = LL_GPIO_MODE_OUTPUT;
  GPIO_InitStruct.Speed = LL_GPIO_SPEED_FREQ_LOW;
  GPIO_InitStruct.OutputType = LL_GPIO_OUTPUT_PUSHPULL;
  GPIO_InitStruct.Pull = LL_GPIO_PULL_NO;
  LL_GPIO_Init(DO_EN_MEASURE_GPIO_Port, &GPIO_InitStruct);

  /**/
  GPIO_InitStruct.Pin = DO_GSM_PWR_KEY_Pin;
  GPIO_InitStruct.Mode = LL_GPIO_MODE_OUTPUT;
  GPIO_InitStruct.Speed = LL_GPIO_SPEED_FREQ_LOW;
  GPIO_InitStruct.OutputType = LL_GPIO_OUTPUT_PUSHPULL;
  GPIO_InitStruct.Pull = LL_GPIO_PULL_DOWN;
  LL_GPIO_Init(DO_GSM_PWR_KEY_GPIO_Port, &GPIO_InitStruct);

  /**/
  GPIO_InitStruct.Pin = BOOT0_Pin;
  GPIO_InitStruct.Mode = LL_GPIO_MODE_INPUT;
  GPIO_InitStruct.Pull = LL_GPIO_PULL_UP;
  LL_GPIO_Init(BOOT0_GPIO_Port, &GPIO_InitStruct);

  /**/
  LL_SYSCFG_SetEXTISource(LL_SYSCFG_EXTI_PORTC, LL_SYSCFG_EXTI_LINE13);

  /**/
  LL_SYSCFG_SetEXTISource(LL_SYSCFG_EXTI_PORTE, LL_SYSCFG_EXTI_LINE14);

  /**/
  LL_SYSCFG_SetEXTISource(LL_SYSCFG_EXTI_PORTE, LL_SYSCFG_EXTI_LINE15);

  /**/
  LL_SYSCFG_SetEXTISource(LL_SYSCFG_EXTI_PORTB, LL_SYSCFG_EXTI_LINE10);

  /**/
  LL_SYSCFG_SetEXTISource(LL_SYSCFG_EXTI_PORTB, LL_SYSCFG_EXTI_LINE11);

  /**/
  LL_SYSCFG_SetEXTISource(LL_SYSCFG_EXTI_PORTB, LL_SYSCFG_EXTI_LINE12);

  /**/
  LL_SYSCFG_SetEXTISource(LL_SYSCFG_EXTI_PORTE, LL_SYSCFG_EXTI_LINE0);

  /**/
  EXTI_InitStruct.Line_0_31 = LL_EXTI_LINE_13;
  EXTI_InitStruct.Line_32_63 = LL_EXTI_LINE_NONE;
  EXTI_InitStruct.LineCommand = ENABLE;
  EXTI_InitStruct.Mode = LL_EXTI_MODE_IT;
  EXTI_InitStruct.Trigger = LL_EXTI_TRIGGER_FALLING;
  LL_EXTI_Init(&EXTI_InitStruct);

  /**/
  EXTI_InitStruct.Line_0_31 = LL_EXTI_LINE_14;
  EXTI_InitStruct.Line_32_63 = LL_EXTI_LINE_NONE;
  EXTI_InitStruct.LineCommand = ENABLE;
  EXTI_InitStruct.Mode = LL_EXTI_MODE_IT;
  EXTI_InitStruct.Trigger = LL_EXTI_TRIGGER_RISING;
  LL_EXTI_Init(&EXTI_InitStruct);

  /**/
  EXTI_InitStruct.Line_0_31 = LL_EXTI_LINE_15;
  EXTI_InitStruct.Line_32_63 = LL_EXTI_LINE_NONE;
  EXTI_InitStruct.LineCommand = ENABLE;
  EXTI_InitStruct.Mode = LL_EXTI_MODE_IT;
  EXTI_InitStruct.Trigger = LL_EXTI_TRIGGER_RISING;
  LL_EXTI_Init(&EXTI_InitStruct);

  /**/
  EXTI_InitStruct.Line_0_31 = LL_EXTI_LINE_10;
  EXTI_InitStruct.Line_32_63 = LL_EXTI_LINE_NONE;
  EXTI_InitStruct.LineCommand = ENABLE;
  EXTI_InitStruct.Mode = LL_EXTI_MODE_IT;
  EXTI_InitStruct.Trigger = LL_EXTI_TRIGGER_RISING;
  LL_EXTI_Init(&EXTI_InitStruct);

  /**/
  EXTI_InitStruct.Line_0_31 = LL_EXTI_LINE_11;
  EXTI_InitStruct.Line_32_63 = LL_EXTI_LINE_NONE;
  EXTI_InitStruct.LineCommand = ENABLE;
  EXTI_InitStruct.Mode = LL_EXTI_MODE_IT;
  EXTI_InitStruct.Trigger = LL_EXTI_TRIGGER_RISING;
  LL_EXTI_Init(&EXTI_InitStruct);

  /**/
  EXTI_InitStruct.Line_0_31 = LL_EXTI_LINE_12;
  EXTI_InitStruct.Line_32_63 = LL_EXTI_LINE_NONE;
  EXTI_InitStruct.LineCommand = ENABLE;
  EXTI_InitStruct.Mode = LL_EXTI_MODE_IT;
  EXTI_InitStruct.Trigger = LL_EXTI_TRIGGER_RISING;
  LL_EXTI_Init(&EXTI_InitStruct);

  /**/
  EXTI_InitStruct.Line_0_31 = LL_EXTI_LINE_0;
  EXTI_InitStruct.Line_32_63 = LL_EXTI_LINE_NONE;
  EXTI_InitStruct.LineCommand = ENABLE;
  EXTI_InitStruct.Mode = LL_EXTI_MODE_IT;
  EXTI_InitStruct.Trigger = LL_EXTI_TRIGGER_RISING_FALLING;
  LL_EXTI_Init(&EXTI_InitStruct);

  /**/
  LL_GPIO_SetPinPull(XI_USER_BTN_GPIO_Port, XI_USER_BTN_Pin, LL_GPIO_PULL_UP);

  /**/
  LL_GPIO_SetPinPull(XI_ITEM_IN_1_GPIO_Port, XI_ITEM_IN_1_Pin, LL_GPIO_PULL_NO);

  /**/
  LL_GPIO_SetPinPull(XI_ITEM_IN_2_GPIO_Port, XI_ITEM_IN_2_Pin, LL_GPIO_PULL_NO);

  /**/
  LL_GPIO_SetPinPull(XI_ITEM_IN_3_GPIO_Port, XI_ITEM_IN_3_Pin, LL_GPIO_PULL_NO);

  /**/
  LL_GPIO_SetPinPull(XI_ITEM_IN_4_GPIO_Port, XI_ITEM_IN_4_Pin, LL_GPIO_PULL_NO);

  /**/
  LL_GPIO_SetPinPull(XI_ITEM_IN_5_GPIO_Port, XI_ITEM_IN_5_Pin, LL_GPIO_PULL_NO);

  /**/
  LL_GPIO_SetPinPull(XI_GSM_STATUS_GPIO_Port, XI_GSM_STATUS_Pin, LL_GPIO_PULL_DOWN);

  /**/
  LL_GPIO_SetPinMode(XI_USER_BTN_GPIO_Port, XI_USER_BTN_Pin, LL_GPIO_MODE_INPUT);

  /**/
  LL_GPIO_SetPinMode(XI_ITEM_IN_1_GPIO_Port, XI_ITEM_IN_1_Pin, LL_GPIO_MODE_INPUT);

  /**/
  LL_GPIO_SetPinMode(XI_ITEM_IN_2_GPIO_Port, XI_ITEM_IN_2_Pin, LL_GPIO_MODE_INPUT);

  /**/
  LL_GPIO_SetPinMode(XI_ITEM_IN_3_GPIO_Port, XI_ITEM_IN_3_Pin, LL_GPIO_MODE_INPUT);

  /**/
  LL_GPIO_SetPinMode(XI_ITEM_IN_4_GPIO_Port, XI_ITEM_IN_4_Pin, LL_GPIO_MODE_INPUT);

  /**/
  LL_GPIO_SetPinMode(XI_ITEM_IN_5_GPIO_Port, XI_ITEM_IN_5_Pin, LL_GPIO_MODE_INPUT);

  /**/
  LL_GPIO_SetPinMode(XI_GSM_STATUS_GPIO_Port, XI_GSM_STATUS_Pin, LL_GPIO_MODE_INPUT);

  /* EXTI interrupt init*/
  NVIC_SetPriority(EXTI0_IRQn, NVIC_EncodePriority(NVIC_GetPriorityGrouping(),0, 0));
  NVIC_EnableIRQ(EXTI0_IRQn);
  NVIC_SetPriority(EXTI15_10_IRQn, NVIC_EncodePriority(NVIC_GetPriorityGrouping(),0, 0));
  NVIC_EnableIRQ(EXTI15_10_IRQn);

}

void HAL_TIM_PeriodElapsedCallback(TIM_HandleTypeDef *htim)
{
  if (htim->Instance == TIM16) {
    HAL_IncTick();
  }
}

void Error_Handler(void)
{
  __disable_irq();
  while (1)
  {
  }
}
